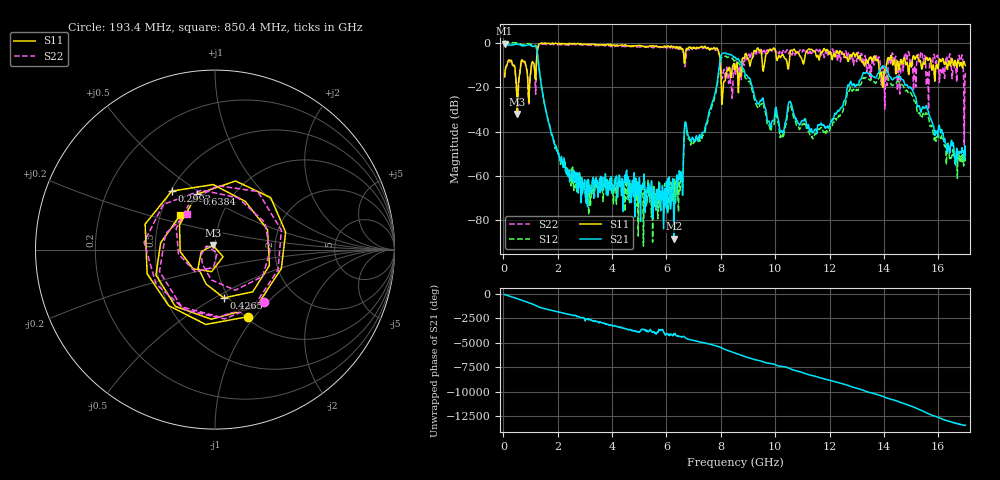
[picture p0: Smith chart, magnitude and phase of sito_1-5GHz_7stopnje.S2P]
! C:\Users\Aljaz\Desktop\sito_1-5GHz_7stopnje.S2P
! Touchstone 1.1 file saved by VNA.EXE V1.65 (www.ke5fx.com/gpib/readme.htm)
! 27. 03. 2024 12:48:22
!  Source: HP8510C.07.14: Aug 26  1998
!  Min freq: 4.500000E+007 Hz
!  Max freq: 1.700000E+010 Hz
!  Points: 801
!  Params: S11 S21 S12 S22
# GHZ S DB R 50
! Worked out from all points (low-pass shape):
!   801 points, 45 MHz to 17 GHz, reference 50 ohm
!   highest |S21| = -0.16 dB at 45 MHz (marker M1); lowest = -88.6 dB at 6.276 GHz (marker M2)
!   |S21| within 3 dB of the highest: start of sweep to 1.233 GHz
!   lowest |S11| = -32.0 dB at 511.3 MHz (marker M3), VSWR 1.05, Z = 48.9 + j2.25 ohm
!   |S11| at or under -10 dB: 346.9 MHz to 636.5 MHz (289.7 MHz wide, 58.9 % of centre); 7.989 GHz to 8.449 GHz (460 MHz wide, 5.6 % of centre); 13.81 GHz to 14.09 GHz (278.1 MHz wide, 1.99 % of centre)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
!   |S22| runs from -46.1 to -0.3 dB; largest |S21 - S12| = 1.9
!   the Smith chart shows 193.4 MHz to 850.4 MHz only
!   S11 on the Smith chart (normalised r, x): 193.4 MHz: 1.02, -0.92; 299.3 MHz: 0.51, +0.40; 426.5 MHz: 0.95, -0.55; 638.4 MHz: 0.68, +0.47; 850.4 MHz: 0.63, +0.26
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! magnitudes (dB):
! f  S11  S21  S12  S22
! 45 MHz  -15.0  -0.2  1.3  -15.7
! 193.4 MHz  -7.6  -0.9  0.1  -7.9
! 299.3 MHz  -7.8  -0.9  0.2  -8.3
! 426.5 MHz  -11.3  -0.6  0.2  -11.9
! 511.3 MHz  -32.0  -0.4  0.1  -25.8
! 638.4 MHz  -9.8  -0.9  -0.3  -10.4
! 850.4 MHz  -11.3  -0.9  -0.5  -12.0
! 1.189 GHz  -16.6  -1.3  -1.0  -23.1
! 2.016 GHz  -0.2  -50.3  -49.9  -0.7
! 2.885 GHz  -0.4  -60.9  -69.1  -0.8
! 5.704 GHz  -1.6  -65.7  -69.6  -1.5
! 6.276 GHz  -1.5  -88.6  -79.2  -1.8
! 6.509 GHz  -1.7  -62.0  -66.1  -2.1
! 6.721 GHz  -2.9  -36.3  -37.8  -6.6
! 7.314 GHz  -1.5  -40.4  -42.2  -2.1
! 8.035 GHz  -27.7  -4.9  -6.3  -16.1
! 8.523 GHz  -12.0  -6.2  -7.8  -13.4
! 9.794 GHz  -2.8  -36.0  -37.7  -3.5
! 10.56 GHz  -3.7  -26.4  -28.3  -3.2
! 11.36 GHz  -3.0  -40.6  -42.1  -3.9
! 14.18 GHz  -6.8  -14.3  -16.8  -6.5
! 17 GHz  -10.1  -50.6  -53.8  -13.4
